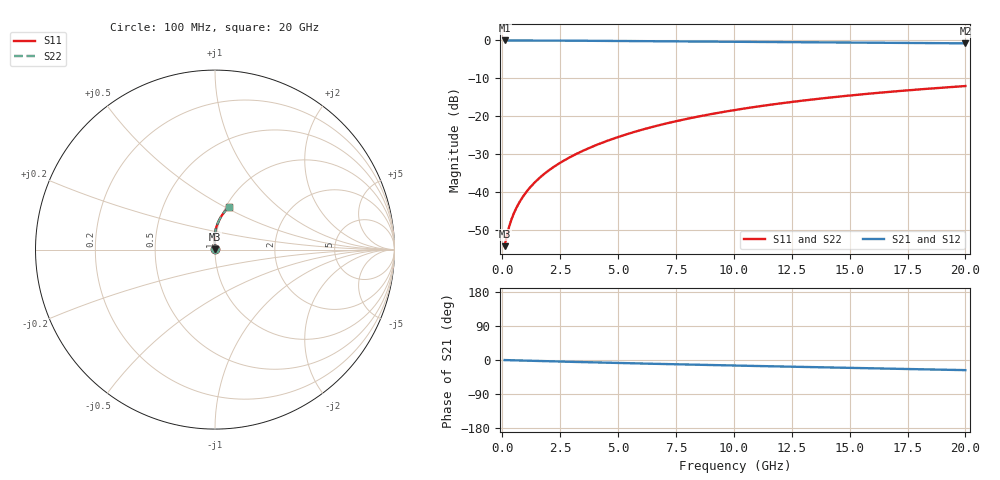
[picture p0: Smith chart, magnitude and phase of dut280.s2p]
! Touchstone file exported from HFSS 2024.1.0
!  File:  C:/UserFiles/LocalFiles/RDL_TSV_Batchsim/temp_RDL_bottom_280_1778702925.aedt
!  Generated:  04:11:24 AM May 14, 2026
!  Design:  RDL_bottom
!  Project:  temp_RDL_bottom_280_1778702925
!  Setup:  Setup1
!  Solution:  Sweep
! Variables:
!  dtsv = 10.80580581um
!  hbump = 3um
!  htsv = 64.88um
!  ldown = 360.69um
!  lrdl = 100um
!  p = 40
!  p1 = 56.97um
!  rhole = 1um
!  t = 450um
!  tdown = 3.29um
!  trdl = 3.915915916um
!  wdown = 29.69um
!  wrdl = 20um
# GHz S MA R 50.000000
! Terminal data exported
! Port[1] = RDL1_T1
! Port[2] = RDL1_T2
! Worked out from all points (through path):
!   200 points, 100 MHz to 20 GHz, reference 50 ohm
!   highest |S21| = -0.01 dB at 100 MHz (marker M1); lowest = -0.8 dB at 20 GHz (marker M2)
!   group delay of S21, straight-line fit = 3.65 ps
!   lowest |S11| = -54.4 dB at 100 MHz (marker M3), VSWR 1.00, Z = 50.2 + j0.108 ohm
!   |S11| at or under -10 dB: start of sweep to end of sweep
!   |S22| runs from -54.4 to -12.1 dB; largest |S21 - S12| = 5.3e-15
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0.1  0.001915 34.1  0.9984 -0.2  0.9984 -0.2  0.001915 34.1
! Gamma 0 0 0 0
! Port Impedance 50 0 50 0
0.2  0.002677 51.2  0.9983 -0.3  0.9983 -0.3  0.002677 51.2
0.3  0.003511 59.9  0.9981 -0.5  0.9981 -0.5  0.003511 59.9
0.4  0.004353 65.4  0.998 -0.7  0.998 -0.7  0.004353 65.4
0.5  0.005201 69.3  0.9979 -0.8  0.9979 -0.8  0.005201 69.3
0.6  0.006059 72.4  0.9977 -1.0  0.9977 -1.0  0.006059 72.4
0.8  0.007809 76.8  0.9975 -1.3  0.9975 -1.3  0.007809 76.8
1.1  0.01051 81.1  0.997 -1.8  0.997 -1.8  0.01051 81.1
1.3  0.01236 83.1  0.9966 -2.1  0.9966 -2.1  0.01236 83.1
1.6  0.0152 85.4  0.996 -2.6  0.996 -2.6  0.0152 85.4
2.1  0.0201 88.0  0.9947 -3.4  0.9947 -3.4  0.0201 88.0
2.7  0.02628 90.1  0.9927 -4.4  0.9927 -4.4  0.02628 90.1
3.5  0.03503 91.7  0.9897 -5.6  0.9897 -5.6  0.03504 91.7
4.2  0.04315 92.3  0.9866 -6.7  0.9866 -6.7  0.04316 92.3
5  0.0529 92.5  0.9829 -7.8  0.9829 -7.8  0.05291 92.5
5.9  0.06436 92.2  0.9785 -9.1  0.9785 -9.1  0.06438 92.2
6.8  0.07621 91.4  0.9741 -10.4  0.9741 -10.4  0.07623 91.5
8.4  0.09786 89.5  0.9663 -12.5  0.9663 -12.5  0.09789 89.6
10.1  0.1212 87.1  0.9583 -14.7  0.9583 -14.7  0.1212 87.1
13.4  0.1659 81.9  0.9435 -18.8  0.9435 -18.8  0.166 82.0
16.7  0.2089 76.9  0.9292 -22.8  0.9292 -22.8  0.209 76.9
20  0.2495 72.1  0.9148 -26.7  0.9148 -26.7  0.2496 72.1
